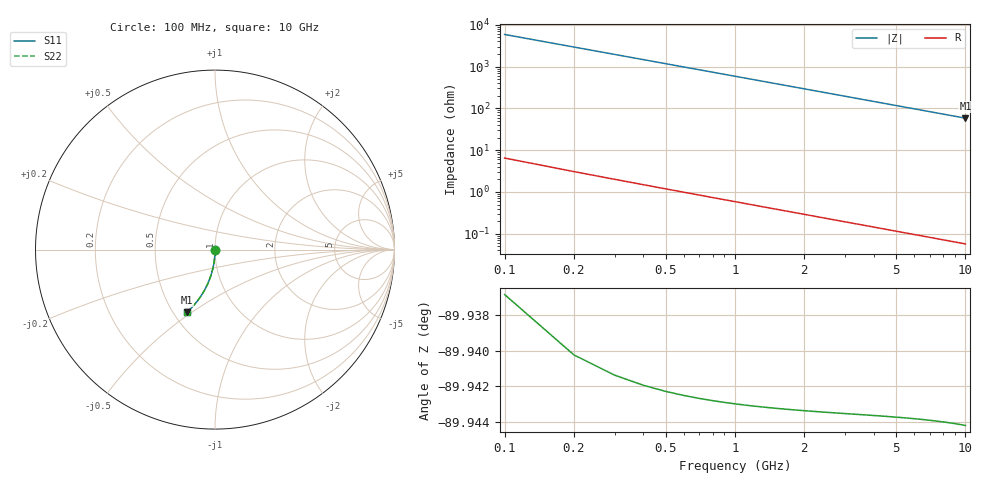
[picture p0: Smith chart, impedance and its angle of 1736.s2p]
# Hz S RI R 50.00
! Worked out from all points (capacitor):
!   100 points, 100 MHz to 10 GHz, reference 50 ohm
!   read as one part in shunt: C = 271 fF near 100 MHz
!   lowest |Z| = 58.4 ohm at 10 GHz (marker M1)
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1e8  9.94e-06 -0.00411  0.9999 -0.00439  0.9999 -0.00439  9.94e-06 -0.00411
2e8  -4.81e-05 -0.00822  0.9999 -0.00878  0.9999 -0.00878  -4.81e-05 -0.00822
3e8  -0.000142 -0.0123  0.9998 -0.0132  0.9998 -0.0132  -0.000142 -0.0123
4e8  -0.000273 -0.0164  0.9997 -0.0176  0.9997 -0.0176  -0.000273 -0.0164
5e8  -0.000439 -0.0205  0.9995 -0.0219  0.9995 -0.0219  -0.000439 -0.0205
6e8  -0.000641 -0.0246  0.9993 -0.0263  0.9993 -0.0263  -0.000641 -0.0246
7e8  -0.00088 -0.0287  0.9991 -0.0307  0.9991 -0.0307  -0.00088 -0.0287
8e8  -0.00115 -0.0328  0.9988 -0.0351  0.9988 -0.0351  -0.00115 -0.0328
9e8  -0.00146 -0.0369  0.9985 -0.0395  0.9985 -0.0395  -0.00146 -0.0369
1.1e9  -0.00219 -0.0451  0.9977 -0.0482  0.9977 -0.0482  -0.00219 -0.0451
1.4e9  -0.00355 -0.0574  0.9964 -0.0613  0.9964 -0.0613  -0.00355 -0.0574
1.8e9  -0.00587 -0.0736  0.9941 -0.0787  0.9941 -0.0787  -0.00587 -0.0736
2.1e9  -0.00797 -0.0857  0.9919 -0.0916  0.9919 -0.0916  -0.00797 -0.0857
2.5e9  -0.0113 -0.1018  0.9886 -0.1088  0.9886 -0.1088  -0.0113 -0.1018
2.9e9  -0.0151 -0.1176  0.9848 -0.1258  0.9848 -0.1258  -0.0151 -0.1176
3.4e9  -0.0207 -0.1372  0.9792 -0.1468  0.9792 -0.1468  -0.0207 -0.1372
4.2e9  -0.0312 -0.1678  0.9686 -0.1796  0.9686 -0.1796  -0.0312 -0.1678
5.1e9  -0.0455 -0.2009  0.9543 -0.2153  0.9543 -0.2153  -0.0455 -0.2009
5.9e9  -0.0601 -0.2289  0.9397 -0.2457  0.9397 -0.2457  -0.0601 -0.2289
6.7e9  -0.0763 -0.2556  0.9235 -0.2747  0.9235 -0.2747  -0.0763 -0.2556
8.4e9  -0.1153 -0.3071  0.8844 -0.3311  0.8844 -0.3311  -0.1153 -0.3071
1e10  -0.1563 -0.3485  0.8432 -0.3773  0.8432 -0.3773  -0.1563 -0.3485
